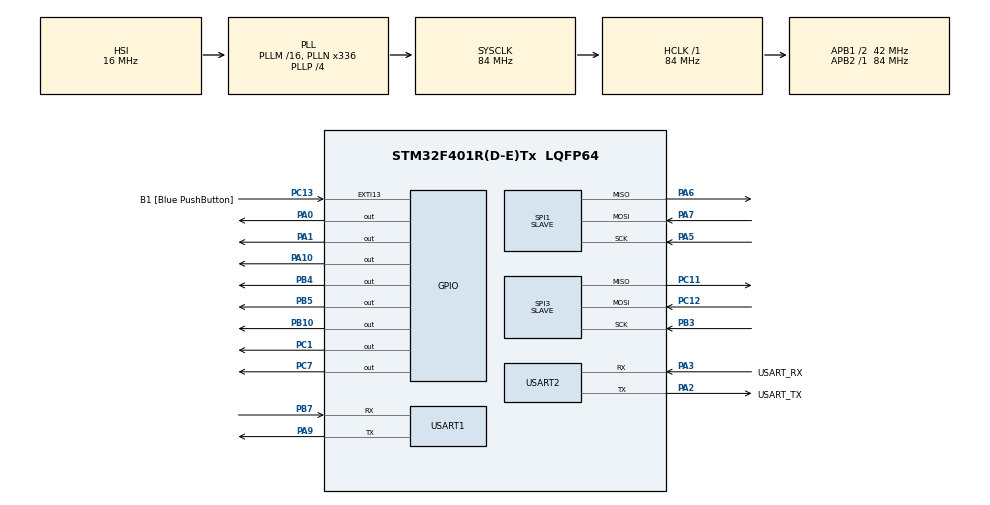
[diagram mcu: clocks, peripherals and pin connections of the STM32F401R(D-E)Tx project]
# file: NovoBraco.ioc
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FREERTOS.Tasks01=defaultTask,0,512,StartDefaultTask,Default,NULL,Dynamic,NULL,NULL;myTask02,0,512,StartTask02,Default,NULL,Dynamic,NULL,NULL;myTask03,0,512,StartTask03,Default,NULL,Dynamic,NULL,NULL
Mcu.Family=STM32F4
Mcu.Name=STM32F401R(D-E)Tx
Mcu.Package=LQFP64
NVIC.PriorityGroup=NVIC_PRIORITYGROUP_4
NVIC.TIM2_IRQn=true\:15\:0\:false\:false\:true\:false\:false\:true\:true
NVIC.TimeBase=TIM2_IRQn
NVIC.TimeBaseIP=TIM2
PA0-WKUP.Signal=GPIO_Output
PA1.Signal=GPIO_Output
PA10.Signal=GPIO_Output
PA13.GPIO_Label=TMS
PA13.Mode=Serial_Wire
PA13.Signal=SYS_JTMS-SWDIO
PA14.GPIO_Label=TCK
PA14.Mode=Serial_Wire
PA14.Signal=SYS_JTCK-SWCLK
PA2.GPIO_Label=USART_TX
PA2.GPIO_Mode=GPIO_MODE_AF_PP
PA2.GPIO_PuPd=GPIO_NOPULL
PA2.GPIO_Speed=GPIO_SPEED_FREQ_LOW
PA2.Mode=Asynchronous
PA2.Signal=USART2_TX
PA3.GPIO_Label=USART_RX
PA3.GPIO_Mode=GPIO_MODE_AF_PP
PA3.GPIO_PuPd=GPIO_NOPULL
PA3.GPIO_Speed=GPIO_SPEED_FREQ_LOW
PA3.Mode=Asynchronous
PA3.Signal=USART2_RX
PA5.Mode=Full_Duplex_Slave
PA5.Signal=SPI1_SCK
PA6.Mode=Full_Duplex_Slave
PA6.Signal=SPI1_MISO
PA7.Mode=Full_Duplex_Slave
PA7.Signal=SPI1_MOSI
PA9.Mode=Asynchronous
PA9.Signal=USART1_TX
PB10.GPIO_PuPd=GPIO_PULLUP
PB10.Signal=GPIO_Output
PB3.Mode=Full_Duplex_Slave
PB3.Signal=SPI3_SCK
PB4.Signal=GPIO_Output
PB5.Signal=GPIO_Output
PB7.Mode=Asynchronous
PB7.Signal=USART1_RX
PC1.Signal=GPIO_Output
PC11.Mode=Full_Duplex_Slave
PC11.Signal=SPI3_MISO
PC12.Mode=Full_Duplex_Slave
PC12.Signal=SPI3_MOSI
PC13-ANTI_TAMP.GPIO_Label=B1 [Blue PushButton]
PC13-ANTI_TAMP.GPIO_ModeDefaultEXTI=GPIO_MODE_IT_FALLING
PC13-ANTI_TAMP.GPIO_PuPd=GPIO_NOPULL
PC13-ANTI_TAMP.Signal=GPXTI13
PC14-OSC32_IN.Mode=LSE-External-Oscillator
PC14-OSC32_IN.Signal=RCC_OSC32_IN
PC15-OSC32_OUT.Mode=LSE-External-Oscillator
PC15-OSC32_OUT.Signal=RCC_OSC32_OUT
PC7.Signal=GPIO_Output
PH0\ -\ OSC_IN.Mode=HSE-External-Clock-Source
PH0\ -\ OSC_IN.Signal=RCC_OSC_IN
PH1\ -\ OSC_OUT.Mode=HSE-External-Clock-Source
PH1\ -\ OSC_OUT.Signal=RCC_OSC_OUT
ProjectManager.HeapSize=0x200
ProjectManager.StackSize=0x400
ProjectManager.TargetToolchain=MDK-ARM V5.32
RCC.48MHZClocksFreq_Value=48000000
RCC.AHBFreq_Value=84000000
RCC.APB1CLKDivider=RCC_HCLK_DIV2
RCC.APB1Freq_Value=42000000
RCC.APB1TimFreq_Value=84000000
RCC.APB2Freq_Value=84000000
RCC.APB2TimFreq_Value=84000000
RCC.CortexFreq_Value=84000000
RCC.HCLKFreq_Value=84000000
RCC.HSE_VALUE=8000000
RCC.HSI_VALUE=16000000
RCC.PLLN=336
RCC.PLLP=RCC_PLLP_DIV4
RCC.PLLQ=7
RCC.SYSCLKFreq_VALUE=84000000
RCC.SYSCLKSource=RCC_SYSCLKSOURCE_PLLCLK
RCC.VCOOutputFreq_Value=336000000
SPI1.Direction=SPI_DIRECTION_2LINES
SPI1.Mode=SPI_MODE_SLAVE
SPI1.VirtualType=VM_SLAVE
SPI3.Direction=SPI_DIRECTION_2LINES
SPI3.Mode=SPI_MODE_SLAVE
SPI3.VirtualType=VM_SLAVE
USART1.VirtualMode=VM_ASYNC
USART2.VirtualMode=VM_ASYNC
VP_FREERTOS_VS_CMSIS_V1.Mode=CMSIS_V1
VP_RTC_VS_RTC_Activate.Mode=RTC_Enabled
VP_RTC_VS_RTC_WakeUp_intern.Mode=WakeUp
VP_SYS_VS_tim2.Mode=TIM2
board=NUCLEO-F401RE

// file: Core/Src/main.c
/* USER CODE BEGIN Header */
/**
  ******************************************************************************
  * @file           : main.c
  * @brief          : Main program body
  ******************************************************************************
  * @attention
  *
  * Copyright (c) 2024 STMicroelectronics.
  * All rights reserved.
  *
  * This software is licensed under terms that can be found in the LICENSE file
  * in the root directory of this software component.
  * If no LICENSE file comes with this software, it is provided AS-IS.
  *
  ******************************************************************************
  */
/* USER CODE END Header */
#include "main.h"
#include "cmsis_os.h"

/* USER CODE BEGIN Includes */

	// Inclusão da Bilioteca para Funcionamento da Placa PLC01A1

	#include "x_nucleo_plc01a1.h"

/* USER CODE END Includes */

RTC_HandleTypeDef hrtc;

SPI_HandleTypeDef hspi1;
SPI_HandleTypeDef hspi3;

UART_HandleTypeDef huart1;
UART_HandleTypeDef huart2;

osThreadId defaultTaskHandle;
osThreadId myTask02Handle;
osThreadId myTask03Handle;
/* USER CODE BEGIN PV */

	static uint16_t WD_Reset = 0; // Count Down para Resetagem de Comando
	static uint8_t Tick_10 = 0; // Contagem de Tempo
	static uint8_t* Input_Data; // Detecção de Entrada na Placa PLC
	static uint8_t oData = 0; // Inscrição de Saída da Placa PLC
	static uint8_t* Relay_Status; // Status de Funcionamento das Saídas da Placa PLC
	static uint8_t* Current_Limiter_Status; // Status de Funcionamento das Entradas da Placa PLC

	int qpasso = 0; // Quantidade de Passos dados pelo Motor
	int horario = 0; // Sinalização do sentido horário de rotação do motor
	int antihorario = 0; // Sinalização do sentido antihorário de rotação do motor
	int habilitado = 0;	 // Sinalização de habilitação do motor

	int passo1[8] = {1, 1, 0, 0, 0, 0, 0, 1}; // Sequencia de ativação da bobina A+ em half-step
	int passo2[8] = {0, 1, 1, 1, 0, 0, 0, 0}; // Sequencia de ativação da bobina B+ em half-step
	int passo3[8] = {0, 0, 0, 1, 1, 1, 0, 0}; // Sequencia de ativação da bobina A- em half-step
	int passo4[8] = {0, 0, 0, 0, 0, 1, 1, 1}; // Sequencia de ativação da bobina B- em half-step

/* USER CODE END PV */

void SystemClock_Config(void);
static void MX_GPIO_Init(void);
static void MX_SPI1_Init(void);
static void MX_USART2_UART_Init(void);
static void MX_RTC_Init(void);
static void MX_SPI3_Init(void);
static void MX_USART1_UART_Init(void);
void StartDefaultTask(void const * argument);
void StartTask02(void const * argument);
void StartTask03(void const * argument);

/* USER CODE BEGIN PFP */

	// Habilitação das funções de funcionamento da placa PLC

		static void initializePlc(void);
		static void PLC_Handler(void);
		uint8_t* CURRENT_LIMITER_Handler(void);
		void RELAY_Handler(uint8_t*);

/* USER CODE END PFP */

int main(void)
{

  /* MCU Configuration--------------------------------------------------------*/

  /* Reset of all peripherals, Initializes the Flash interface and the Systick. */
  HAL_Init();

  /* Configure the system clock */
  SystemClock_Config();

  /* Initialize all configured peripherals */
  MX_GPIO_Init();
  MX_SPI1_Init();
  MX_USART2_UART_Init();
  MX_RTC_Init();
  MX_SPI3_Init();
  MX_USART1_UART_Init();
  /* USER CODE BEGIN 2 */

		// Inicialização das funcionalidades da placa PLC

			initializePlc();
			BSP_RELAY_Reset();

			BSP_RELAY_EN_Out();

  /* USER CODE END 2 */

  /* Create the thread(s) */
  /* definition and creation of defaultTask */
  osThreadDef(defaultTask, StartDefaultTask, osPriorityNormal, 0, 512);
  defaultTaskHandle = osThreadCreate(osThread(defaultTask), NULL);

  /* definition and creation of myTask02 */
  osThreadDef(myTask02, StartTask02, osPriorityNormal, 0, 512);
  myTask02Handle = osThreadCreate(osThread(myTask02), NULL);

   /* definition and creation of myTask03 */
  osThreadDef(myTask03, StartTask03, osPriorityNormal, 0, 512);
  myTask03Handle = osThreadCreate(osThread(myTask03), NULL);

  /* Start scheduler */
  osKernelStart();

  /* We should never get here as control is now taken by the scheduler */
  /* Infinite loop */
  while (1) {

  }
}

void SystemClock_Config(void)
{
  RCC_OscInitTypeDef RCC_OscInitStruct = {0};
  RCC_ClkInitTypeDef RCC_ClkInitStruct = {0};

  /** Configure the main internal regulator output voltage
  */
  __HAL_RCC_PWR_CLK_ENABLE();
  __HAL_PWR_VOLTAGESCALING_CONFIG(PWR_REGULATOR_VOLTAGE_SCALE2);

  /** Initializes the RCC Oscillators according to the specified parameters
  * in the RCC_OscInitTypeDef structure.
  */
  RCC_OscInitStruct.OscillatorType = RCC_OSCILLATORTYPE_HSI|RCC_OSCILLATORTYPE_LSI;
  RCC_OscInitStruct.HSIState = RCC_HSI_ON;
  RCC_OscInitStruct.HSICalibrationValue = RCC_HSICALIBRATION_DEFAULT;
  RCC_OscInitStruct.LSIState = RCC_LSI_ON;
  RCC_OscInitStruct.PLL.PLLState = RCC_PLL_ON;
  RCC_OscInitStruct.PLL.PLLSource = RCC_PLLSOURCE_HSI;
  RCC_OscInitStruct.PLL.PLLM = 16;
  RCC_OscInitStruct.PLL.PLLN = 336;
  RCC_OscInitStruct.PLL.PLLP = RCC_PLLP_DIV4;
  RCC_OscInitStruct.PLL.PLLQ = 7;
  if (HAL_RCC_OscConfig(&RCC_OscInitStruct) != HAL_OK)
  {
    Error_Handler();
  }

  /** Initializes the CPU, AHB and APB buses clocks
  */
  RCC_ClkInitStruct.ClockType = RCC_CLOCKTYPE_HCLK|RCC_CLOCKTYPE_SYSCLK
                              |RCC_CLOCKTYPE_PCLK1|RCC_CLOCKTYPE_PCLK2;
  RCC_ClkInitStruct.SYSCLKSource = RCC_SYSCLKSOURCE_PLLCLK;
  RCC_ClkInitStruct.AHBCLKDivider = RCC_SYSCLK_DIV1;
  RCC_ClkInitStruct.APB1CLKDivider = RCC_HCLK_DIV2;
  RCC_ClkInitStruct.APB2CLKDivider = RCC_HCLK_DIV1;

  if (HAL_RCC_ClockConfig(&RCC_ClkInitStruct, FLASH_LATENCY_2) != HAL_OK)
  {
    Error_Handler();
  }
}

static void MX_RTC_Init(void)
{

  RTC_TimeTypeDef sTime = {0};
  RTC_DateTypeDef sDate = {0};

  /** Initialize RTC Only
  */
  hrtc.Instance = RTC;
  hrtc.Init.HourFormat = RTC_HOURFORMAT_24;
  hrtc.Init.AsynchPrediv = 127;
  hrtc.Init.SynchPrediv = 255;
  hrtc.Init.OutPut = RTC_OUTPUT_DISABLE;
  hrtc.Init.OutPutPolarity = RTC_OUTPUT_POLARITY_HIGH;
  hrtc.Init.OutPutType = RTC_OUTPUT_TYPE_OPENDRAIN;
  if (HAL_RTC_Init(&hrtc) != HAL_OK)
  {
    Error_Handler();
  }

  /** Initialize RTC and set the Time and Date
  */
  sTime.Hours = 0x0;
  sTime.Minutes = 0x0;
  sTime.Seconds = 0x0;
  sTime.DayLightSaving = RTC_DAYLIGHTSAVING_NONE;
  sTime.StoreOperation = RTC_STOREOPERATION_RESET;
  if (HAL_RTC_SetTime(&hrtc, &sTime, RTC_FORMAT_BCD) != HAL_OK)
  {
    Error_Handler();
  }
  sDate.WeekDay = RTC_WEEKDAY_MONDAY;
  sDate.Month = RTC_MONTH_JANUARY;
  sDate.Date = 0x1;
  sDate.Year = 0x0;

  if (HAL_RTC_SetDate(&hrtc, &sDate, RTC_FORMAT_BCD) != HAL_OK)
  {
    Error_Handler();
  }

  /** Enable the WakeUp
  */
  if (HAL_RTCEx_SetWakeUpTimer(&hrtc, 0, RTC_WAKEUPCLOCK_RTCCLK_DIV16) != HAL_OK)
  {
    Error_Handler();
  }

}

static void MX_SPI1_Init(void)
{

  /* SPI1 parameter configuration*/
  hspi1.Instance = SPI1;
  hspi1.Init.Mode = SPI_MODE_SLAVE;
  hspi1.Init.Direction = SPI_DIRECTION_2LINES;
  hspi1.Init.DataSize = SPI_DATASIZE_8BIT;
  hspi1.Init.CLKPolarity = SPI_POLARITY_LOW;
  hspi1.Init.CLKPhase = SPI_PHASE_1EDGE;
  hspi1.Init.NSS = SPI_NSS_SOFT;
  hspi1.Init.FirstBit = SPI_FIRSTBIT_MSB;
  hspi1.Init.TIMode = SPI_TIMODE_DISABLE;
  hspi1.Init.CRCCalculation = SPI_CRCCALCULATION_DISABLE;
  hspi1.Init.CRCPolynomial = 10;
  if (HAL_SPI_Init(&hspi1) != HAL_OK)
  {
    Error_Handler();
  }

}

static void MX_SPI3_Init(void)
{

  /* SPI3 parameter configuration*/
  hspi3.Instance = SPI3;
  hspi3.Init.Mode = SPI_MODE_SLAVE;
  hspi3.Init.Direction = SPI_DIRECTION_2LINES;
  hspi3.Init.DataSize = SPI_DATASIZE_8BIT;
  hspi3.Init.CLKPolarity = SPI_POLARITY_LOW;
  hspi3.Init.CLKPhase = SPI_PHASE_1EDGE;
  hspi3.Init.NSS = SPI_NSS_SOFT;
  hspi3.Init.FirstBit = SPI_FIRSTBIT_MSB;
  hspi3.Init.TIMode = SPI_TIMODE_DISABLE;
  hspi3.Init.CRCCalculation = SPI_CRCCALCULATION_DISABLE;
  hspi3.Init.CRCPolynomial = 10;
  if (HAL_SPI_Init(&hspi3) != HAL_OK)
  {
    Error_Handler();
  }

}

static void MX_USART1_UART_Init(void)
{

  huart1.Instance = USART1;
  huart1.Init.BaudRate = 115200;
  huart1.Init.WordLength = UART_WORDLENGTH_8B;
  huart1.Init.StopBits = UART_STOPBITS_1;
  huart1.Init.Parity = UART_PARITY_NONE;
  huart1.Init.Mode = UART_MODE_TX_RX;
  huart1.Init.HwFlowCtl = UART_HWCONTROL_NONE;
  huart1.Init.OverSampling = UART_OVERSAMPLING_16;
  if (HAL_UART_Init(&huart1) != HAL_OK)
  {
    Error_Handler();
  }

}

static void MX_USART2_UART_Init(void)
{

  huart2.Instance = USART2;
  huart2.Init.BaudRate = 115200;
  huart2.Init.WordLength = UART_WORDLENGTH_8B;
  huart2.Init.StopBits = UART_STOPBITS_1;
  huart2.Init.Parity = UART_PARITY_NONE;
  huart2.Init.Mode = UART_MODE_TX_RX;
  huart2.Init.HwFlowCtl = UART_HWCONTROL_NONE;
  huart2.Init.OverSampling = UART_OVERSAMPLING_16;
  if (HAL_UART_Init(&huart2) != HAL_OK)
  {
    Error_Handler();
  }

}

static void MX_GPIO_Init(void)
{
  GPIO_InitTypeDef GPIO_InitStruct = {0};

  /* GPIO Ports Clock Enable */
  __HAL_RCC_GPIOC_CLK_ENABLE();
  __HAL_RCC_GPIOH_CLK_ENABLE();
  __HAL_RCC_GPIOA_CLK_ENABLE();
  __HAL_RCC_GPIOB_CLK_ENABLE();

  /*Configure GPIO pin Output Level */
  HAL_GPIO_WritePin(GPIOC, GPIO_PIN_1|GPIO_PIN_7, GPIO_PIN_RESET);

  /*Configure GPIO pin Output Level */
  HAL_GPIO_WritePin(GPIOA, GPIO_PIN_0|GPIO_PIN_1|GPIO_PIN_10, GPIO_PIN_RESET);

  /*Configure GPIO pin Output Level */
  HAL_GPIO_WritePin(GPIOB, GPIO_PIN_10|GPIO_PIN_4|GPIO_PIN_5, GPIO_PIN_RESET);

  /*Configure GPIO pin : B1_Pin */
  GPIO_InitStruct.Pin = B1_Pin;
  GPIO_InitStruct.Mode = GPIO_MODE_IT_FALLING;
  GPIO_InitStruct.Pull = GPIO_NOPULL;
  HAL_GPIO_Init(B1_GPIO_Port, &GPIO_InitStruct);

  /*Configure GPIO pins : PC1 PC7 */
  GPIO_InitStruct.Pin = GPIO_PIN_1|GPIO_PIN_7;
  GPIO_InitStruct.Mode = GPIO_MODE_OUTPUT_PP;
  GPIO_InitStruct.Pull = GPIO_NOPULL;
  GPIO_InitStruct.Speed = GPIO_SPEED_FREQ_LOW;
  HAL_GPIO_Init(GPIOC, &GPIO_InitStruct);

  /*Configure GPIO pins : PA0 PA1 PA10 */
  GPIO_InitStruct.Pin = GPIO_PIN_0|GPIO_PIN_1|GPIO_PIN_10;
  GPIO_InitStruct.Mode = GPIO_MODE_OUTPUT_PP;
  GPIO_InitStruct.Pull = GPIO_NOPULL;
  GPIO_InitStruct.Speed = GPIO_SPEED_FREQ_LOW;
  HAL_GPIO_Init(GPIOA, &GPIO_InitStruct);

  /*Configure GPIO pin : PB10 */
  GPIO_InitStruct.Pin = GPIO_PIN_10;
  GPIO_InitStruct.Mode = GPIO_MODE_OUTPUT_PP;
  GPIO_InitStruct.Pull = GPIO_PULLUP;
  GPIO_InitStruct.Speed = GPIO_SPEED_FREQ_LOW;
  HAL_GPIO_Init(GPIOB, &GPIO_InitStruct);

  /*Configure GPIO pins : PB4 PB5 */
  GPIO_InitStruct.Pin = GPIO_PIN_4|GPIO_PIN_5;
  GPIO_InitStruct.Mode = GPIO_MODE_OUTPUT_PP;
  GPIO_InitStruct.Pull = GPIO_NOPULL;
  GPIO_InitStruct.Speed = GPIO_SPEED_FREQ_LOW;
  HAL_GPIO_Init(GPIOB, &GPIO_InitStruct);

}

/* USER CODE BEGIN 4 */

	// Função de Inicialização das funções para funcionamento da Placa PLC

		static void initializePlc(void)
		{

			BSP_Relay_Init(); // Inicialização da função de controle das saídas da placa
			BSP_CurrentLimiter_Init(); // Inicialização da função de controle das entrada da placa

		}

		/**
		* @brief  Handles the relay and current limiter functions and demos
		* @param  None
		* @retval None
		*/

	// Função de leitura e controle constante das entrada e saídas da placa

		static void PLC_Handler(void)
		{

				Input_Data = CURRENT_LIMITER_Handler(); // Leitura das entradas da placa

				RELAY_Handler(Input_Data); // Controle das saídas da placa a partir da leitura das entradas

		}

	/**
		* @brief  Receive input data from Current Limiter and checks for error status
		* @param  None
		* @retval Pointer to input channels state
	*/

	// Leitura da entrada da placa

		uint8_t* CURRENT_LIMITER_Handler(void)
		{

			static uint8_t* clData = NULL; // Variável de armazenamento de leitura de entrada

			clData = BSP_CURRENT_LIMITER_Read(); // Armazenamento da leitura de entradas da placa PLC através de hexadecimal

			Current_Limiter_Status = clData; // Transcrição do status de leitura em caso de problemas em debug

			return (clData+1); // Retorno do valor das entradas detectadas

		}

	/**
		* @brief  Select output control function and set outputs state
		* @param  Pointer to input channels state
		* @retval None
	*/

	// Controle de saídas da placa

		void RELAY_Handler(uint8_t* iData)
	{

		oData = BSP_Signal_Mirror(*iData); // Espelhamento do valor hexadecimal detectado na entrada para controle

		// Caso a Entrada 1 seja acionada para o sentido horário ou antihorário, o motor é habilitado

			if (*iData == 0x01 || *iData == 0x03) {

				habilitado = 1;

				// Se somente a entrada 1 é habilitada, o sentido do motor é colocado em horário, intertravando o sentido antihorário

					if (*iData == 0x01) {

						horario = 1;
						antihorario = 0;

					}

				// Se a entrada 1 e 2 são habilitadas, o sentido do motor é colocado em antihorário, intertravando o sentido horário

					if (*iData == 0x03) {

						horario = 0;
						antihorario = 1;

					}

			}

		// Caso não haja leitura, ou caso haja pulso sendo emitido em outras portas, o motor é então desabilitado

			else {

				habilitado = 0;

				horario = 0;

				antihorario = 0;

			}

	}

	/**
	 * @brief  Systick callback implementation for systick interrupt
	 * @param  None
	 * @retval None
	 */

	// Função de Callback executado pela SPI

		void HAL_SYSTICK_Callback(void)
		{

			if (WD_Reset <= 100)

				WD_Reset++;

			else

			{

				Tick_10++;

				if (Tick_10 == 10)

				{

					Tick_10 = 0;

				}

			}

		}

/* USER CODE END 4 */

void StartDefaultTask(void const * argument)
{
  /* USER CODE BEGIN 5 */
  /* Infinite loop */
  for(;;)
  {

		// Loop de funcionamento da leitura de entradas e controle de saídas

			PLC_Handler();
			osDelay(100);

  }
  /* USER CODE END 5 */
}

void StartTask02(void const * argument)
{
  /* USER CODE BEGIN StartTask02 */
  /* Infinite loop */
  for(;;)
  {

		// Se o estado habilitado provindo do reconhecimneto das entradas provindos do CLP for colocado em nível lógico alto, a X-NUCLEO-IHM04A1 tem suas portas habilitadas para funcionamento do motor

		while (habilitado) {

			HAL_GPIO_WritePin(GPIOC, GPIO_PIN_1, GPIO_PIN_SET); // Habilitação da Ponte H B da placa IHM04A1
			HAL_GPIO_WritePin(GPIOA, GPIO_PIN_10, GPIO_PIN_SET);	// Habilitação da Ponte H A da placa IHM04A1

			// Quando forem dados 8 passos, o ciclo de passo é reiniciado

				if (qpasso >= 8) {

					qpasso = 0;

				}

			// Quando o sentido horário do motor for habilitado, a sequencia de habilitação das chaves em sentido horário é acionada

				if (horario) {

					HAL_GPIO_WritePin(GPIOB, GPIO_PIN_4, passo1[qpasso]);
					HAL_GPIO_WritePin(GPIOA, GPIO_PIN_0, passo2[qpasso]);
					HAL_GPIO_WritePin(GPIOB, GPIO_PIN_5, passo3[qpasso]);
					HAL_GPIO_WritePin(GPIOA, GPIO_PIN_1, passo4[qpasso]);

					qpasso++;

					osDelay(50);

				}

			// Quando o sentido antihorário do motor for habilitado, a sequencia de habilitação das chaves em sentido antihorário é acionada

				else if (antihorario) {

					HAL_GPIO_WritePin(GPIOB, GPIO_PIN_4, passo1[7 - qpasso]);
					HAL_GPIO_WritePin(GPIOA, GPIO_PIN_0, passo2[7 - qpasso]);
					HAL_GPIO_WritePin(GPIOB, GPIO_PIN_5, passo3[7 - qpasso]);
					HAL_GPIO_WritePin(GPIOA, GPIO_PIN_1, passo4[7 - qpasso]);

					qpasso++;

					osDelay(50);

				}

		}

			// Caso o modo habilitado não esteja acionado, todas as pontes H e as chaves são desabilitadas, desligando o motor

				HAL_GPIO_WritePin(GPIOC, GPIO_PIN_1, GPIO_PIN_RESET);
				HAL_GPIO_WritePin(GPIOA, GPIO_PIN_10, GPIO_PIN_RESET);

				HAL_GPIO_WritePin(GPIOB, GPIO_PIN_4, 0);
				HAL_GPIO_WritePin(GPIOA, GPIO_PIN_0, 0);
				HAL_GPIO_WritePin(GPIOB, GPIO_PIN_5, 0);
				HAL_GPIO_WritePin(GPIOA, GPIO_PIN_1, 0);

  }
  /* USER CODE END StartTask02 */
}

void StartTask03(void const * argument)
{
  /* USER CODE BEGIN StartTask03 */
  /* Infinite loop */
  for(;;)
  {

		// Se o sinal habilitado estiver acionado, um sinal é enviado via Serial

			if (habilitado) {

				// Se o sentido de rotação do motor for o horário, um sinal é enviado via Serial

				if (horario) {

					HAL_UART_Transmit(&huart1, (uint8_t*)"M", 1, 100);

				}

				// Se o sentido de rotação do motor for o antihorário, um sinal é enviado via Serial

				else if (antihorario) {

					HAL_UART_Transmit(&huart1, (uint8_t*)"W", 1, 100);

				}

			}

		// Caso o motor não esteja habilitado, um sinal é enviado via Serial

			else {

				HAL_UART_Transmit(&huart1, (uint8_t*)"D", 1, 100);

			}

		// Delay de transmissão

			osDelay(500);

  }
  /* USER CODE END StartTask03 */
}

void HAL_TIM_PeriodElapsedCallback(TIM_HandleTypeDef *htim)
{
  if (htim->Instance == TIM2) {
    HAL_IncTick();
  }
}

void Error_Handler(void)
{
  __disable_irq();
  while (1)
  {
  }
}
